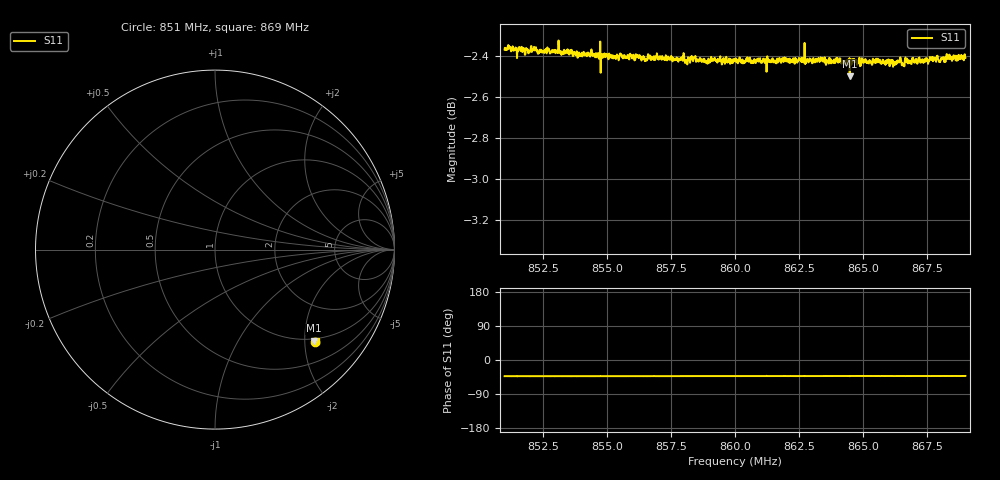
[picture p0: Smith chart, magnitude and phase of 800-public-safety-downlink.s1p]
! Calibrated averaged scanner-service zoom
# Hz S RI R 50
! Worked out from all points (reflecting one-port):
!   2001 points, 851 MHz to 869 MHz, reference 50 ohm
!   lowest |S11| = -2.5 dB at 864.48 MHz (marker M1), VSWR 7.00, Z = 47.6 - j111 ohm
!   phase of S11 starts at -43 deg and turns +1 deg over the sweep
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8.51e8  0.5598 -0.5159
8.51423e8  0.5599 -0.5161
8.51648e8  0.5602 -0.516
8.51882e8  0.5601 -0.5151
8.5325e8  0.5585 -0.5152
8.53556e8  0.559 -0.5163
8.54033e8  0.5579 -0.5136
8.54438e8  0.5588 -0.5147
8.54753e8  0.5563 -0.5052
8.555e8  0.5586 -0.5136
8.5775e8  0.5581 -0.5116
8.6e8  0.5581 -0.5103
8.60324e8  0.558 -0.5096
8.60513e8  0.5586 -0.5117
8.61233e8  0.561 -0.5005
8.6225e8  0.5584 -0.5094
8.6405e8  0.5602 -0.5086
8.64482e8  0.5513 -0.5083
8.645e8  0.5607 -0.5087
8.65103e8  0.5602 -0.5092
8.66066e8  0.5602 -0.5087
8.66255e8  0.5589 -0.5077
8.66408e8  0.5588 -0.509
8.66588e8  0.5591 -0.5077
8.6675e8  0.5589 -0.5089
8.6801e8  0.5586 -0.5093
8.68361e8  0.562 -0.5097
8.69e8  0.5622 -0.508
